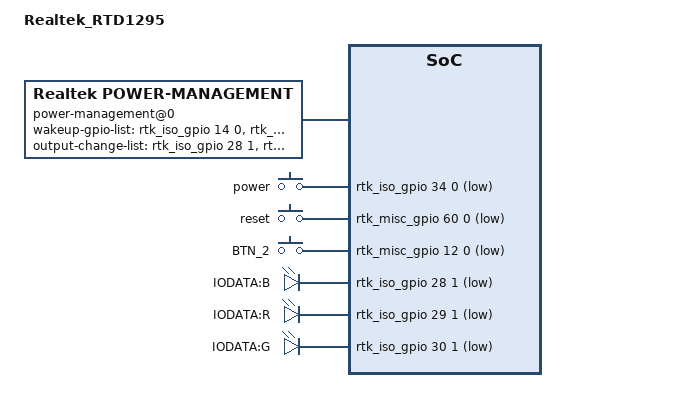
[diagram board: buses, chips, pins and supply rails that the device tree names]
#include "rtd-1295.dtsi"

/ {
	model= "Realtek_RTD1295";
	compatible = "Realtek,rtd-1295";

	aliases {
		serial0 = &uart0;
	};

	arch_timer {
		clock-frequency = <27000000>;
	};

	timer0@9801B000 {
		clock-frequency = <27000000>;
	};

	timer1@9801B000 {
		clock-frequency = <27000000>;
	};

	serial0@98007800 {
		clock-frequency = <27000000>;
	};

	serial1@9801B200 {
		clock-frequency = <432000000>;
	};

	serial2@9801B400 {
		clock-frequency = <432000000>;
	};

	chosen {
		/*  512: 1MB */
		/* 2048: 4MB */
		swiotlb-memory-reservation-size = <512>;
		/* 0: SWIOTLB_NORMAL */
		/* 1: SWIOTLB_FORCE */
		/* 2: SWIOTLB_NO_FORCE */
		swiotlb-force = <0>;
	};

	rtk,ion {
		compatible = "Realtek,rtk-ion";
		#address-cells = <1>;
		#size-cells = <0>;

		rtk,ion-heap@0 { /* SYSTEM_HEAP */
			compatible = "Realtek,rtk-ion-reserve";
			reg = <0>;
			rtk,memory-reservation-size = <0x0>;
		};

		rtk,ion-heap@1 { /* System contig */
			compatible = "Realtek,rtk-ion-reserve";
			reg = <1>;
			rtk,memory-reservation-size = <0x0>;
		};

		rtk,ion-heap@4 { /* DMA_HEAP */
			compatible = "Realtek,rtk-ion-reserve";
			reg = <4>;
			rtk,memory-reservation-size = <0x0>;
		};

		rtk,ion-heap@8 { /* Audio */
			compatible = "Realtek,rtk-ion-reserve";
			reg = <8>;
		};

		rtk,ion-heap@7 { /* TYPE_MEDIA */
			compatible = "Realtek,rtk-ion-reserve";
			reg = <7>;
		};
	};

	fb {
		compatible = "Realtek,rtk-fb";
		buffer-cnt = <3>;
		resolution = <1920 1080>;
		fps = <60>;
	};

	test_vo@98005000 {
		compatible = "Realtek,rtk1295-test_vo";
		reg = <0x98005000 0x1000>,
			<0x9800D000 0x1000>,
			<0x98000000 0x1000>;
		interrupts = <0 34 4>;
	};

	rtk_misc_gpio: rtk_misc_gpio@9801b100 {
		gpios = <&rtk_misc_gpio 8 0 0>,
		<&rtk_misc_gpio 13 0 0>,
		<&rtk_misc_gpio 14 0 0>,
		<&rtk_misc_gpio 100 0 0>;
		/* boardmodel_pin */
	};

	rfkill: rfkilligpio {
		gpios = <&rtk_iso_gpio 24 1 0>; /* bt power */
		status = "okay";
	};

	/*
	 * Suspend GPIO control
	 * 
	 * [wakeup-gpio-list]
	 * rtk_iso_gpio 14: BT wakeup host pin 
	 * rtk_iso_gpio 33: WiFi wakeup host pin
	 * 
	 * [wakeup-gpio-enable]
	 * Wakeup from BT: <1>enabele 
	 * Wakeup from WiFi: <0> disable
	 * 
	 * [wakeup-gpio-activity]
	 * BT pin: <1>active high
	 * WIFI pin: <1>active high
	 */
	power-management@0{
		compatible = "Realtek,power-management";

		/* GPIO Wakeup */
		wakeup-gpio-enable = /* (0) disable (1) enable */
			<0>, /* Wakeup from BT : disable */
			<1>, /* Wakeup from WiFi : enable */
			<1>; /* Wakeup from Button : enable */
		wakeup-gpio-list = /* <&rtk_iso_gpio {num} {force input (0) } {default N/A (0)] }> */
			<&rtk_iso_gpio 14 0 0>, /* BT wakeup host pin */
			<&rtk_iso_gpio 33 0 0>, /* WiFi wakeup host pin */
			<&rtk_iso_gpio 34 0 0>; /* Button wakeup host pin */
		wakeup-gpio-activity = /* (0) active low (1) active high*/
			<0>, /* BT : low activity */
			<0>, /* Wifi : low activity */
			<0>; /* Button : low activity */
		gpio-output-change-enable = <1>,<1>,<1>; /* (0) disable (1) enable */
		gpio-output-change-list =
					<&rtk_iso_gpio 28 1 0>, /* <&rtk_iso_gpio {num} 1 {low/high}> */
					<&rtk_iso_gpio 29 1 0>, /* <&rtk_iso_gpio {num} 1 {low/high}> */
					<&rtk_iso_gpio 30 1 0>; /* <&rtk_iso_gpio {num} 1 {low/high}> */
		gpio-output-change-activity = <1>,<1>,<1>; /* (0) output low at suspend (1) output high at suspend */
	};
	gpio-keys-polled {
		compatible = "gpio-keys-polled";
		#address-cells = <1>;
		#size-cells = <0>;
		poll-interval = <20>;
		power {
			label = "power";
			gpios = <&rtk_iso_gpio 34 0 1>;
			linux,code = <0x164>;
		};
		reset {
			label = "reset";
			gpios = <&rtk_misc_gpio 60 0 1>;
			linux,code = <0x198>;
		};
		/*BTN_0 {
			label = "BTN_0";
			gpios = <&rtk_misc_gpio 54 0 1>;//U2_FAULTn
			linux,code = <0x100>;
		};
		BTN_1 {
			label = "BTN_1";
			gpios = <&rtk_misc_gpio 20 0 1>;//U2B_FAULTn
			linux,code = <0x101>;
		};*/
		BTN_2 {
			label = "BTN_2";
			gpios = <&rtk_misc_gpio 12 0 1>;//U3_FAULTn
			linux,code = <0x102>;
		};
	};
	gpio-leds {
		compatible = "gpio-leds";
		LED_B {
			label = "IODATA:B";
			gpios = <&rtk_iso_gpio 28 1 1>;
			default-state = "on";
			linux,default-trigger = "timer";
			linux,default-delay_on = "100";
			linux,default-delay_off = "100";
		};
		LED_R {
			label = "IODATA:R";
			gpios = <&rtk_iso_gpio 29 1 1>;
			default-state = "on";
			linux,default-trigger = "timer";
			linux,default-delay_on = "100";
			linux,default-delay_off = "100";
		};
		LED_G {
			label = "IODATA:G";
			gpios = <&rtk_iso_gpio 30 1 1>;
			default-state = "on";
			linux,default-trigger = "timer";
			linux,default-delay_on = "100";
			linux,default-delay_off = "100";
		};
		/*BTN_0 {
			label = "USB2.0_BC1.2_PWR";
			gpios = <&rtk_misc_gpio 19 1 1>;
			default-state = "on";
		};
		BTN_1 {
			label = "USB2B_PWR";
			gpios = <&rtk_misc_gpio 17 1 0>;
			default-state = "off";
		};
		BTN_2 {
			label = "USB3_PWR";
			gpios = <&rtk_misc_gpio 11 1 0>;
			default-state = "off";
		};*/
	};
};

